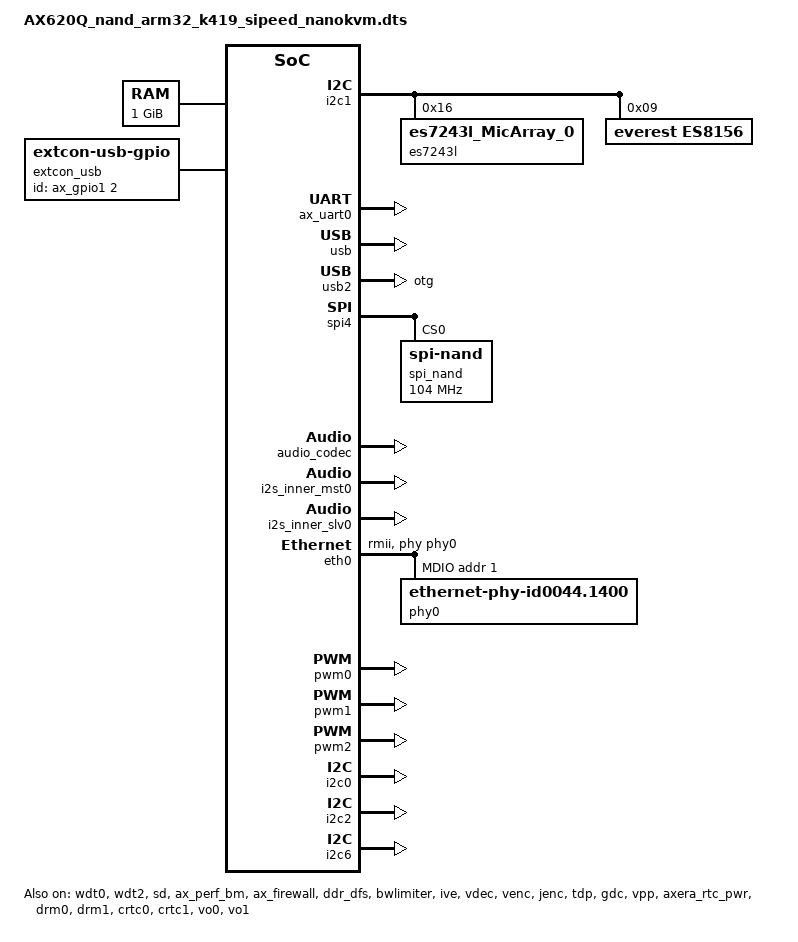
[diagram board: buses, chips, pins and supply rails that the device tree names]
// SPDX-License-Identifier: GPL-2.0
/**************************************************************************************************
 *
 * Copyright (c) 2019-2024 Axera Semiconductor Co., Ltd. All Rights Reserved.
 *
 * This dts file is the property of Axera Semiconductor Co., Ltd. and
 * may not be copied or distributed in any isomorphic form without the prior
 * written consent of Axera Semiconductor Co., Ltd.
 *
 **************************************************************************************************/

/dts-v1/;
#include "AX620E.dtsi"
/ {
	memory@40000000 {
		device_type = "memory";
		reg = <0x0 0x40000000 0x0 0x40000000>;
	};
	reserved-memory {
		#address-cells = <2>;
		#size-cells = <2>;
		ranges;
	};

	chosen {
		bootargs = BOOTARGS;
	};

	sound {
		status = "okay";
		compatible = "simple-audio-card";
		simple-audio-card,name = "Axera Audio";
		simple-audio-card,widgets =
			"Microphone", "Mic Jack";
		simple-audio-card,routing =
			"AMIC", "Mic Jack";
		#address-cells = <1>;
		#size-cells = <0>;
	/*	simple-audio-card,dai-link@0 {
			format = "i2s";
			cpu {
				sound-dai = <&i2s_mst0>;
			};
			codec {
				sound-dai = <&es7243l>;
				system-clock-frequency = <12288000>;
			};
		};
		simple-audio-card,dai-link@1 {
			format = "i2s";
			cpu {
				sound-dai = <&i2s_mst0>;
			};
			codec {
				sound-dai = <&es8156>;
				system-clock-frequency = <12288000>;
			};
		};
		simple-audio-card,dai-link@0 {
			format = "i2s";
			bitclock-master = <&codec_m2>;
			frame-master = <&codec_m2>;
			cpu {
				sound-dai = <&i2s_slv0>;
			};
			codec_m2: codec {
				sound-dai = <&es7243l>;
				system-clock-frequency = <12288000>;
			};
		};
		simple-audio-card,dai-link@1 {
			format = "i2s";
			bitclock-master = <&codec_m3>;
			frame-master = <&codec_m3>;
			cpu {
				sound-dai = <&i2s_slv0>;
			};
			codec_m3: codec {
				sound-dai = <&es8156>;
				system-clock-frequency = <12288000>;
			};
		};
		simple-audio-card,dai-link@0 {
			format = "dsp_b";
			cpu {
				sound-dai = <&i2s_tdm_mst0>;
				dai-tdm-slot-num = <2>;
				dai-tdm-slot-width = <32>;
				dai-tdm-slot-rx-mask = <1 1>;
			};
			codec {
				sound-dai = <&es7243l>;
				system-clock-frequency = <12288000>;
			};
		};
		simple-audio-card,dai-link@0 {
			format = "dsp_b";
			bitclock-master = <&codec_m5>;
			frame-master = <&codec_m5>;
			cpu {
				sound-dai = <&i2s_tdm_slv0>;
				dai-tdm-slot-num = <2>;
				dai-tdm-slot-width = <32>;
				dai-tdm-slot-rx-mask = <1 1>;
			};
			codec_m5: codec {
				sound-dai = <&es7243l>;
				system-clock-frequency = <12288000>;
			};
		};*/
		simple-audio-card,dai-link@0 {
			format = "i2s";
			bitclock-master = <&codec_m6>;
			frame-master = <&codec_m6>;
			capture-only;
			cpu {
				sound-dai = <&i2s_inner_slv0>;
			};
			codec_m6: codec {
				sound-dai = <&audio_codec>;
				system-clock-frequency = <12288000>;
			};
		};
		simple-audio-card,dai-link@1 {
			format = "i2s";
			playback-only;
			cpu {
				sound-dai = <&i2s_inner_mst0>;
			};
			codec {
				sound-dai = <&audio_codec>;
				system-clock-frequency = <12288000>;
			};
		};
	};

	axera_logctl {
		compatible = "axera,logctl";
		config = "/etc/ax_syslog.conf";
		logstate = /bits/ 8 <1 1>;
		loglevel = /bits/ 8 <4 4>;
	};

	extcon_usb: extcon_usb {
		compatible = "linux,extcon-usb-gpio";
		id-gpio = <&ax_gpio1 2 0>; /* GPIO1_A2 */
		status = "okay";
	};

};
&i2c1 {
	#address-cells = <0x1>;
	#size-cells = <0x0>;
	status = "okay";
	es7243l: es7243l@16 {
		compatible = "es7243l_MicArray_0";
		reg = <0x16>;
		#sound-dai-cells = <0>;
	};
	es8156: es8156@9 {
		compatible = "everest,es8156";
		reg = <0x9>;
		#sound-dai-cells = <0>;
	};
	ax_gpio_ext: gpio-axera@20 {
		compatible = "axera,gpio-ext";
		reg = <0x20>;
		gpio-controller;
		#gpio-cells = <2>;
		nr-gpios = <16>;
		status = "disabled";
	};
};

&ax_uart0 {
	status = "okay";
};

&wdt0 {
	status = "okay";
};

&wdt2 {
	status = "okay";
};

#if 1
/* for sd */
&sd{
	sdhci-caps-mask = <0x7 0x00200000>;
	bus-width = <4>;
	max-frequency = <200000000>;
	cap-sd-highspeed;
	no-sdio;
	no-mmc;
	disable-wp;
#if 1
	broken-cd;
#else
	cd-gpios = <&ax_gpio1 11 0>;
	cd-inverted;
	cd-debounce-delay-ms = <300>;
#endif

	cdns,phy-input-delay-sd-highspeed = <2>;
	cdns,phy-input-delay-legacy = <3>;
	cdns,phy-input-delay-sd-uhs-sdr12 = <3>;
	cdns,phy-input-delay-sd-uhs-sdr25 = <2>;
	cdns,phy-input-delay-sd-uhs-sdr50 = <1>;
	cdns,phy-input-delay-sd-uhs-ddr50 = <1>;
	cdns,phy-dll-delay-sdclk = <0>;

	status = "okay";
};
#else
/* for sdio */
&sd{
	sdhci-caps-mask = <0x7 0x00200000>;
	bus-width = <4>;
	max-frequency = <200000000>;
	cap-sd-highspeed;
	no-sd;
	no-mmc;
	disable-wp;

	cdns,phy-input-delay-sd-highspeed = <2>;
	cdns,phy-input-delay-legacy = <3>;
	cdns,phy-input-delay-sd-uhs-sdr12 = <3>;
	cdns,phy-input-delay-sd-uhs-sdr25 = <2>;
	cdns,phy-input-delay-sd-uhs-sdr50 = <0>;
	cdns,phy-input-delay-sd-uhs-ddr50 = <0>;
	cdns,phy-dll-delay-sdclk = <0>;

	status = "disabled";
};
#endif

&sdio{
	sdhci-caps-mask = <0x7 0x00200000>;
	bus-width = <4>;
	max-frequency = <200000000>;
	cap-sd-highspeed;
	no-sd;
	no-mmc;
	disable-wp;
	cdns,phy-input-delay-sd-highspeed = <2>;
	cdns,phy-input-delay-legacy = <3>;
	cdns,phy-input-delay-sd-uhs-sdr12 = <3>;
	cdns,phy-input-delay-sd-uhs-sdr25 = <2>;
	cdns,phy-input-delay-sd-uhs-sdr50 = <0>;
	cdns,phy-input-delay-sd-uhs-ddr50 = <0>;
	cdns,phy-dll-delay-sdclk = <0>;
	status = "disabled";
};

&usb {
	status = "okay";
};

&usb2 {
	dr_mode = "otg";
	extcon = <&extcon_usb>;
};

&ax_gpio2 {
	status = "okay";
};

&spi4 {
	status = "okay";
	spi_nand@0 {
		compatible = "spi-nand";
		reg = <0>;
		rx-sample-delay-ns = <6>;
		spi-max-frequency = <104000000>;
		spi-tx-bus-width = <4>;
		spi-rx-bus-width = <4>;
	};
};

&audio_codec {
	gpio-mic-rp = <&ax_gpio1 7 0>; /* GPIO1_A7 */
	gpio-mic-rn = <&ax_gpio1 6 0>; /* GPIO1_A6 */
	gpio-mic-ln = <&ax_gpio1 5 0>; /* GPIO1_A5 */
	gpio-mic-lp = <&ax_gpio1 4 0>; /* GPIO1_A4 */
	gpio-pa-speaker = <&ax_gpio1 12 0>;
	status = "okay";
};
&i2s_inner_mst0 {
	status = "okay";
	/*i2s - pad0*/
	i2s-m-aec-cycle-sel = <0>;    /*23-22*/
	i2s-m-aec-sclk-sel = <0>;     /*21*/
	i2s-inner-codec-en = <1>;     /*20*/
	i2s-exter-codec-en = <0>;     /*19*/
	i2s-m-exter-codec-en = <0>;   /*18*/
	i2s-exter-codec-mst = <0>;    /*17*/
	i2s-m-exter-codec-mst = <0>;  /*16*/
	iis-out-tdm-en = <0>;         /*15*/
	iis-m-out-tdm-en = <0>;       /*14*/
	i2s-m-rx0-sel = <0>;          /*13*/
	i2s-m-rx1-sel = <0>;          /*12-11*/
	i2s-s-rx0-sel = <0>;          /*10-9*/
	i2s-s-rx1-sel = <2>;          /*8-7*/
	i2s-s-sclk-sel = <0>;         /*6-5*/
	tdm-m-rx-sel = <0>;           /*4-3*/
	tdm-s-rx-sel = <0>;           /*2-1*/
	tdm-s-sclk-sel = <0>;         /*0*/
};

&i2s_inner_slv0 {
	status = "okay";
	/*i2s - pad0*/
	i2s-m-aec-cycle-sel = <0>;    /*23-22*/
	i2s-m-aec-sclk-sel = <0>;     /*21*/
	i2s-inner-codec-en = <1>;     /*20*/
	i2s-exter-codec-en = <0>;     /*19*/
	i2s-m-exter-codec-en = <0>;   /*18*/
	i2s-exter-codec-mst = <0>;    /*17*/
	i2s-m-exter-codec-mst = <0>;  /*16*/
	iis-out-tdm-en = <0>;         /*15*/
	iis-m-out-tdm-en = <0>;       /*14*/
	i2s-m-rx0-sel = <0>;          /*13*/
	i2s-m-rx1-sel = <0>;          /*12-11*/
	i2s-s-rx0-sel = <0>;          /*10-9*/
	i2s-s-rx1-sel = <2>;          /*8-7*/
	i2s-s-sclk-sel = <0>;         /*6-5*/
	tdm-m-rx-sel = <0>;           /*4-3*/
	tdm-s-rx-sel = <0>;           /*2-1*/
	tdm-s-sclk-sel = <0>;         /*0*/
};

&i2s_mst0 {
	status = "disabled";
	/*i2s - pad0*/
	i2s-m-aec-cycle-sel = <0>;    /*23-22*/
	i2s-m-aec-sclk-sel = <0>;     /*21*/
	i2s-inner-codec-en = <0>;     /*20*/
	i2s-exter-codec-en = <1>;     /*19*/
	i2s-m-exter-codec-en = <0>;   /*18*/
	i2s-exter-codec-mst = <1>;    /*17*/
	i2s-m-exter-codec-mst = <0>;  /*16*/
	iis-out-tdm-en = <0>;         /*15*/
	iis-m-out-tdm-en = <0>;       /*14*/
	i2s-m-rx0-sel = <0>;          /*13*/
	i2s-m-rx1-sel = <2>;          /*12-11*/
	i2s-s-rx0-sel = <0>;          /*10-9*/
	i2s-s-rx1-sel = <0>;          /*8-7*/
	i2s-s-sclk-sel = <0>;         /*6-5*/
	tdm-m-rx-sel = <0>;           /*4-3*/
	tdm-s-rx-sel = <0>;           /*2-1*/
	tdm-s-sclk-sel = <0>;         /*0*/
};

&i2s_slv0 {
	status = "disabled";
	/*i2s - pad0*/
	i2s-m-aec-cycle-sel = <0>;    /*23-22*/
	i2s-m-aec-sclk-sel = <0>;     /*21*/
	i2s-inner-codec-en = <0>;     /*20*/
	i2s-exter-codec-en = <1>;     /*19*/
	i2s-m-exter-codec-en = <0>;   /*18*/
	i2s-exter-codec-mst = <0>;    /*17*/
	i2s-m-exter-codec-mst = <0>;  /*16*/
	iis-out-tdm-en = <0>;         /*15*/
	iis-m-out-tdm-en = <0>;       /*14*/
	i2s-m-rx0-sel = <0>;          /*13*/
	i2s-m-rx1-sel = <0>;          /*12-11*/
	i2s-s-rx0-sel = <1>;          /*10-9*/
	i2s-s-rx1-sel = <3>;          /*8-7*/
	i2s-s-sclk-sel = <1>;         /*6-5*/
	tdm-m-rx-sel = <0>;           /*4-3*/
	tdm-s-rx-sel = <0>;           /*2-1*/
	tdm-s-sclk-sel = <0>;         /*0*/
};

&i2s_tdm_mst0 {
	status = "disabled";
	/*i2s - pad0*/
	i2s-m-aec-cycle-sel = <0>;    /*23-22*/
	i2s-m-aec-sclk-sel = <0>;     /*21*/
	i2s-inner-codec-en = <0>;     /*20*/
	i2s-exter-codec-en = <1>;     /*19*/
	i2s-m-exter-codec-en = <0>;   /*18*/
	i2s-exter-codec-mst = <1>;    /*17*/
	i2s-m-exter-codec-mst = <0>;  /*16*/
	iis-out-tdm-en = <1>;         /*15*/
	iis-m-out-tdm-en = <0>;       /*14*/
	i2s-m-rx0-sel = <0>;          /*13*/
	i2s-m-rx1-sel = <0>;          /*12-11*/
	i2s-s-rx0-sel = <0>;          /*10-9*/
	i2s-s-rx1-sel = <0>;          /*8-7*/
	i2s-s-sclk-sel = <0>;         /*6-5*/
	tdm-m-rx-sel = <0>;           /*4-3*/
	tdm-s-rx-sel = <0>;           /*2-1*/
	tdm-s-sclk-sel = <0>;         /*0*/
};

&i2s_tdm_slv0 {
	status = "disabled";
	/*i2s - pad0*/
	i2s-m-aec-cycle-sel = <0>;    /*23-22*/
	i2s-m-aec-sclk-sel = <0>;     /*21*/
	i2s-inner-codec-en = <0>;     /*20*/
	i2s-exter-codec-en = <1>;     /*19*/
	i2s-m-exter-codec-en = <0>;   /*18*/
	i2s-exter-codec-mst = <0>;    /*17*/
	i2s-m-exter-codec-mst = <0>;  /*16*/
	iis-out-tdm-en = <0>;         /*15*/
	iis-m-out-tdm-en = <0>;       /*14*/
	i2s-m-rx0-sel = <0>;          /*13*/
	i2s-m-rx1-sel = <0>;          /*12-11*/
	i2s-s-rx0-sel = <0>;          /*10-9*/
	i2s-s-rx1-sel = <0>;          /*8-7*/
	i2s-s-sclk-sel = <0>;         /*6-5*/
	tdm-m-rx-sel = <0>;           /*4-3*/
	tdm-s-rx-sel = <0>;           /*2-1*/
	tdm-s-sclk-sel = <0>;         /*0*/
};


#if 0
&eth0 {
	status = "okay";

	phy-handle = <&phy0>;
	phy-mode = "rgmii";
	phy-rst-gpio = <&ax_gpio1 27 0>; /* GPIO1_A27 */

	mdio {
		#address-cells = <1>;
		#size-cells = <0>;
		compatible = "snps,dwmac-mdio";
		phy0: jl2xxx-phy@1 {
			compatible = "ethernet-phy-id937c.4030";
			jl2xxx,led-enable = <JL2XXX_LED_CTRL_EN>;
			jl2xxx,led-mode = <JL2XXX_CFG_LED_MODE>;
			jl2xxx,led-period = <JL2XXX_GLOBAL_PERIOD_MS>;
			jl2xxx,led-on = <JL2XXX_GLOBAL_ON_MS>;
			jl2xxx,led-polarity = <JL2XXX_LED_POLARITY>;
			jl2xxx,patch-enable = <JL2XXX_PATCH_CTRL_EN>;
			jl2xxx,rgmii-enable = <JL2XXX_RGMII_CTRL_EN>;
			jl2xxx,rgmii-tx-delay = <JL2XXX_RGMII_TX_DLY_2NS>;
			jl2xxx,rgmii-rx-delay = <JL2XXX_RGMII_RX_DLY_2NS>;
			jl2xxx,clk-enable = <JL2XXX_CLK_CTRL_EN>;
			jl2xxx,fld-enable = <JL2XXX_FLD_CTRL_EN>;
			jl2xxx,fld-delay = <JL2XXX_FLD_DELAY>;
			jl2xxx,wol-enable = <JL2XXX_WOL_CTRL_EN>;
			jl2xxx,interrupt-enable = <JL2XXX_INTR_CTRL_EN>;
			jl2xxx,downshift-enable = <JL2XXX_DSFT_CTRL_EN>;
			jl2xxx,downshift-count = <JL2XXX_DSFT_AN_CNT>;
			jl2xxx,work_mode-enable = <JL2XXX_WORK_MODE_CTRL_EN>;
			jl2xxx,work_mode-mode = <JL2XXX_WOEK_MODE_MODE>;
			jl2xxx,lpbk-enable = <JL2XXX_LPBK_CTRL_EN>;
			jl2xxx,lpbk-mode = <JL2XXX_LPBK_MODE>;
			jl2xxx,slew_rate-enable = <JL2XXX_SLEW_RATE_CTRL_EN>;
			jl2xxx,rxc_out-enable = <JL2XXX_RXC_OUT_CTRL_EN>;
			reg = <1>;
		};
	};
};
#else
&eth0 {
	status = "okay";

	phy-handle = <&phy0>;
	phy-mode = "rmii";
	axera-ephy,led0-mode = <EPHY_LED_SPEED>;
	axera-ephy,led0-enable;
	axera-ephy,led1-mode = <EPHY_LED_LINK>;
	axera-ephy,led1-enable;
	axera-ephy,led-polarity = <EPHY_LED_LOW_ACTIVE>;
	mdio {
		#address-cells = <1>;
		#size-cells = <0>;
		compatible = "snps,dwmac-mdio";
		phy0: axera-ephy@1 {
			device_tpye = "ethernet-phy";
			compatible = "ethernet-phy-id0044.1400";
			reg = <1>;
		};
	};
};
#endif

&pwm0 {
	status = "okay";
};

&pwm1 {
	status = "okay";
};

&pwm2 {
	status = "okay";
};

&i2c0 {
	status = "okay";
};

&i2c2 {
	status = "okay";
};

&i2c6 {
	status = "okay";
};

&ax_perf_bm {
	status = "okay";
};

&ax_firewall {
	status = "okay";
};

&ddr_dfs {
       status = "okay";
};

&bwlimiter {
	status = "okay";
};

&ive {
	status = "okay";
};

&vdec {
	status = "okay";
};

&venc {
	status = "okay";
};

&jenc {
	status = "okay";
};
&tdp {
	status = "okay";
};
&gdc {
	status = "okay";
};
&vpp {
	status = "okay";
};
&axera_rtc_pwr {
        status = "okay";
};

&drm0 {
	status = "okay";
};

&drm1 {
	status = "okay";
};

&crtc0 {
	status = "okay";
};

&crtc1 {
	status = "okay";
};

&vo0 {
	status = "okay";
};

&vo1 {
	status = "okay";
};

&bt_dpi0 {
	status = "disabled";
};

&bt_dpi1 {
	status = "disabled";
};

&dma {
	status = "okay";
};

&dma_per {
	status = "okay";
};

&panel0 {
	status = "disabled";
};

&pinctrl_ax{
	/include/ "AX620Q_nand_arm32_k419_sipeed_nanokvm_pinctrl.dtsi"
};
